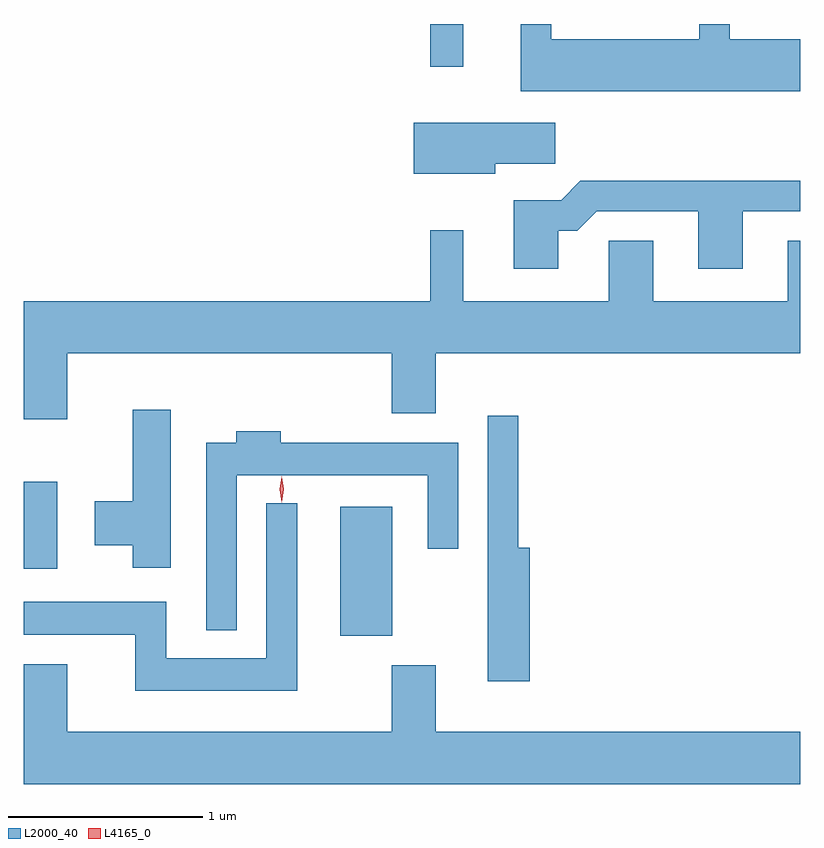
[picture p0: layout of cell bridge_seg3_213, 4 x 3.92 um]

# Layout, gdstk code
import gdstk
lib = gdstk.Library(unit=1e-6, precision=1e-09)
def R(c, l, rs):  # rectangles x0, y0, x1, y1
    for r in rs: c.add(gdstk.rectangle(r[:2], r[2:], *l))
def P(c, l, *ps):  # polygons
    for p in ps: c.add(gdstk.Polygon(p, *l))
L2000_40 = (2000, 40)
L4165_0 = (4165, 0)

bridge_seg3_213 = lib.new_cell('bridge_seg3_213')
R(bridge_seg3_213, L2000_40, [(917.516,1151.201,917.784,1151.864), (915.886,1151.546,916.059,1151.994), (917.981,1154.133,918.149,1154.352)])
P(bridge_seg3_213, L2000_40, [(919.886,1154.274),(919.524,1154.274),(919.524,1154.352),(919.366,1154.352),(919.366,1154.274),(918.604,1154.274),(918.604,1154.352),(918.446,1154.352),(918.446,1154.006),(919.886,1154.006)],
  [(918.314,1153.631),(918.624,1153.631),(918.624,1153.844),(917.896,1153.844),(917.896,1153.581),(918.314,1153.581)],
  [(918.639,1153.286),(918.737,1153.286),(918.837,1153.386),(919.361,1153.386),(919.361,1153.091),(919.589,1153.091),(919.589,1153.386),(919.886,1153.386),(919.886,1153.544),(918.754,1153.544),(918.654,1153.444),(918.411,1153.444),(918.411,1153.091),(918.639,1153.091)],
  [(916.109,1152.656),(917.781,1152.656),(917.781,1152.346),(918.009,1152.346),(918.009,1152.656),(919.886,1152.656),(919.886,1153.234),(919.821,1153.234),(919.821,1152.924),(919.129,1152.924),(919.129,1153.234),(918.901,1153.234),(918.901,1152.924),(918.149,1152.924),(918.149,1153.288),(917.981,1153.288),(917.981,1152.924),(915.886,1152.924),(915.886,1152.316),(916.109,1152.316)],
  [(916.644,1152.364),(916.446,1152.364),(916.446,1151.894),(916.251,1151.894),(916.251,1151.666),(916.446,1151.666),(916.446,1151.551),(916.644,1151.551)],
  [(918.494,1151.654),(918.434,1151.654),(918.434,1152.333),(918.276,1152.333),(918.276,1150.966),(918.494,1150.966)],
  [(916.984,1152.026),(917.966,1152.026),(917.966,1151.648),(918.124,1151.648),(918.124,1152.194),(917.209,1152.194),(917.209,1152.254),(916.981,1152.254),(916.981,1152.194),(916.826,1152.194),(916.826,1151.228),(916.984,1151.228)],
  [(917.294,1151.883),(917.136,1151.883),(917.136,1151.084),(916.619,1151.084),(916.619,1151.374),(915.886,1151.374),(915.886,1151.206),(916.461,1151.206),(916.461,1150.916),(917.294,1150.916)],
  [(919.886,1150.704),(918.009,1150.704),(918.009,1151.049),(917.781,1151.049),(917.781,1150.704),(916.109,1150.704),(916.109,1151.054),(915.886,1151.054),(915.886,1150.436),(919.886,1150.436)])
P(bridge_seg3_213, L4165_0, [(917.215,1151.887),(917.214,1151.888),(917.205,1151.954),(917.214,1152.02),(917.215,1152.021),(917.215,1152.02),(917.225,1151.954),(917.215,1151.888)])

lib.write_gds('bridge_seg3_213.gds')
